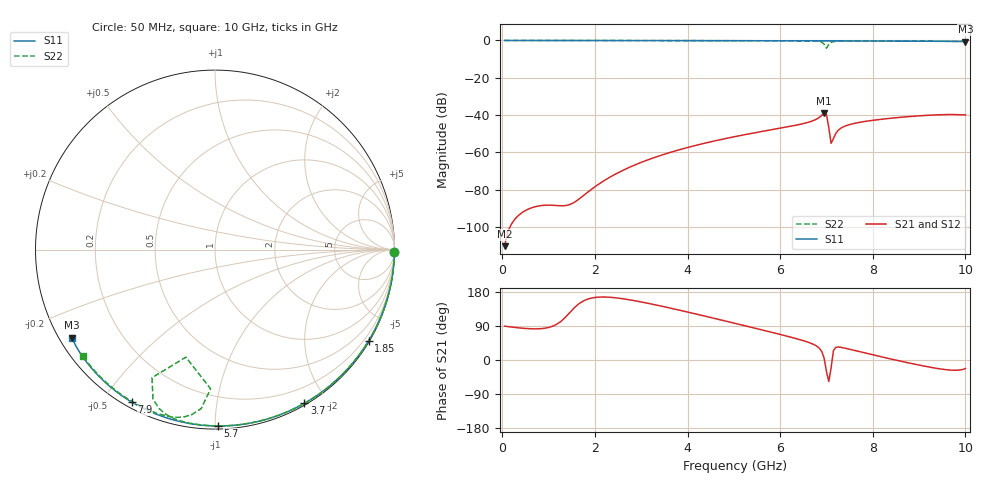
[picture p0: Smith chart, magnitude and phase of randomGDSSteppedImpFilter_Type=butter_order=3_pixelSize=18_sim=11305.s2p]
! freq	dB(S11)	phase(S11)	dB(S12)	phase(S12)
!  dB(S21)	phase(S21)	dB(S22)	phase(S22)
!S-par simulation data
#  GHz  S  DB  R 50
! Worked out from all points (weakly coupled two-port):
!   200 points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, 50 MHz to 10 GHz, reference 50 ohm
!   highest |S21| = -38.87 dB at 6.95 GHz (marker M1); lowest = -110.2 dB at 50 MHz (marker M2)
!   lowest |S11| = -0.6 dB at 10 GHz (marker M3), VSWR 30.06, Z = 1.8 - j14.1 ohm
!   |S11| at or under -10 dB: nowhere
!   |S22| runs from -4.1 to 0.0 dB; largest |S21 - S12| = 0
!   S11 on the Smith chart (normalised r, x): 50 MHz: open; 1.85 GHz: 0.03, -3.64; 3.7 GHz: 0.02, -1.74; 5.7 GHz: 0.02, -1.02; 7.9 GHz: 0.02, -0.59; 10 GHz: 0.04, -0.28
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0.05  -0.00 -0.8  -110.24 89.2  -110.24 89.2  -0.00 -0.8
1.75  -0.04 -29.1  -83.16 155.7  -83.16 155.7  -0.04 -28.4
1.85  -0.04 -30.7  -81.20 160.8  -81.20 160.8  -0.04 -29.9
1.9  -0.04 -31.5  -80.25 162.6  -80.25 162.6  -0.04 -30.7
2.65  -0.06 -43.5  -69.05 160.8  -69.05 160.8  -0.05 -42.5
3.4  -0.07 -55.2  -61.76 143.1  -61.76 143.1  -0.07 -53.9
3.7  -0.08 -59.8  -59.44 135.0  -59.44 135.0  -0.08 -58.4
5.05  -0.12 -79.8  -51.39 96.0  -51.39 96.0  -0.12 -78.1
5.7  -0.15 -89.0  -48.35 76.6  -48.35 76.6  -0.15 -87.4
6.7  -0.20 -102.7  -43.10 42.4  -43.10 42.4  -0.28 -103.9
6.85  -0.21 -104.7  -41.15 30.5  -41.15 30.5  -0.54 -109.3
6.95  -0.21 -106.1  -38.87 4.6  -38.87 4.6  -1.99 -116.2
7  -0.22 -106.7  -39.63 -30.3  -39.63 -30.3  -4.14 -105.1
7.05  -0.22 -107.4  -46.59 -56.8  -46.59 -56.8  -2.20 -91.8
7.1  -0.23 -108.1  -55.09 -21.2  -55.09 -21.2  -1.02 -95.0
7.2  -0.23 -109.4  -49.83 33.2  -49.83 33.2  -0.47 -100.4
7.3  -0.24 -110.7  -47.20 33.8  -47.20 33.8  -0.35 -103.5
7.5  -0.25 -113.4  -45.07 28.3  -45.07 28.3  -0.29 -107.7
7.9  -0.28 -118.6  -43.14 16.5  -43.14 16.5  -0.29 -113.9
8.35  -0.32 -124.6  -41.78 3.7  -41.78 3.7  -0.32 -120.0
9.3  -0.42 -137.3  -39.95 -20.4  -39.95 -20.4  -0.41 -132.3
10  -0.58 -148.4  -39.89 -22.5  -39.89 -22.5  -0.49 -141.2
